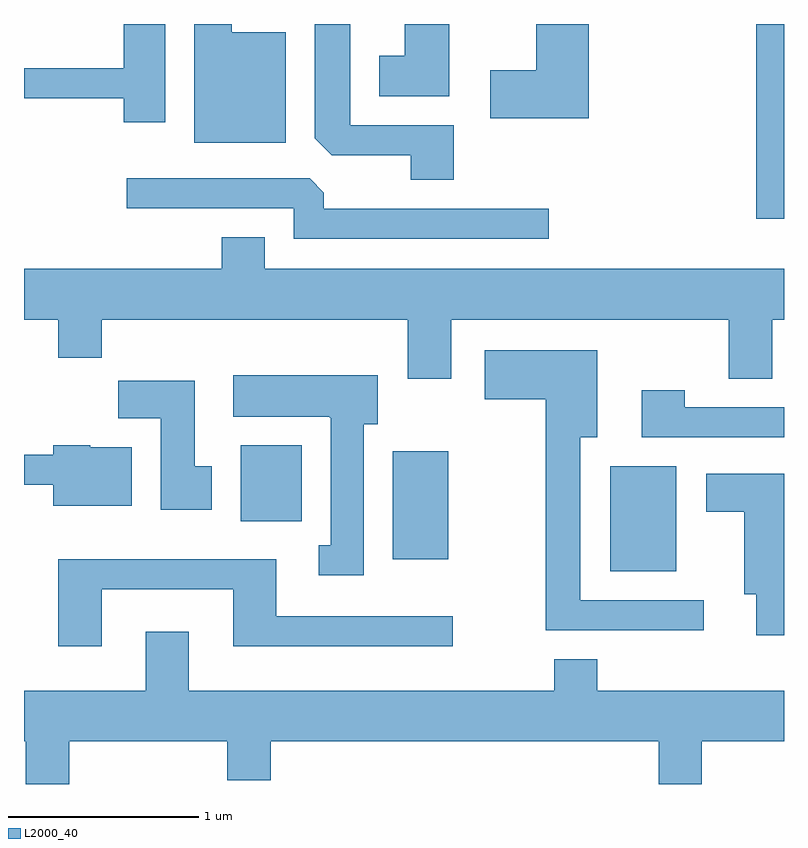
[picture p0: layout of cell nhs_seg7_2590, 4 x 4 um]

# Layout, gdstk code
import gdstk
lib = gdstk.Library(unit=1e-6, precision=1e-09)
def R(c, l, rs):  # rectangles x0, y0, x1, y1
    for r in rs: c.add(gdstk.rectangle(r[:2], r[2:], *l))
def P(c, l, *ps):  # polygons
    for p in ps: c.add(gdstk.Polygon(p, *l))
L2000_40 = (2000, 40)

nhs_seg7_2590 = lib.new_cell('nhs_seg7_2590')
R(nhs_seg7_2590, L2000_40, [(266.696,1777.371,267.044,1777.924), (265.551,1777.436,265.844,1778.004), (264.751,1777.636,265.074,1778.034), (267.466,1779.226,267.611,1780.252)])
P(nhs_seg7_2590, L2000_40, [(264.989,1780.209),(264.704,1780.209),(264.704,1780.252),(264.506,1780.252),(264.506,1779.626),(264.989,1779.626)],
  [(266.584,1780.252),(266.306,1780.252),(266.306,1780.009),(266.066,1780.009),(266.066,1779.756),(266.584,1779.756)],
  [(265.849,1780.252),(265.616,1780.252),(265.616,1780.084),(265.481,1780.084),(265.481,1779.871),(265.849,1779.871)],
  [(265.874,1779.719),(265.329,1779.719),(265.329,1780.252),(265.141,1780.252),(265.141,1779.652),(265.232,1779.561),(265.646,1779.561),(265.646,1779.431),(265.874,1779.431)],
  [(264.354,1780.252),(264.136,1780.252),(264.136,1780.019),(263.611,1780.019),(263.611,1779.861),(264.136,1779.861),(264.136,1779.736),(264.354,1779.736)],
  [(266.373,1779.279),(265.189,1779.279),(265.189,1779.364),(265.114,1779.439),(264.153,1779.439),(264.153,1779.281),(265.031,1779.281),(265.031,1779.121),(266.373,1779.121)],
  [(265.859,1778.696),(267.321,1778.696),(267.321,1778.386),(267.549,1778.386),(267.549,1778.696),(267.611,1778.696),(267.611,1778.964),(264.879,1778.964),(264.879,1779.129),(264.651,1779.129),(264.651,1778.964),(263.611,1778.964),(263.611,1778.696),(263.791,1778.696),(263.791,1778.496),(264.019,1778.496),(264.019,1778.696),(265.631,1778.696),(265.631,1778.386),(265.859,1778.386)],
  [(267.188,1777.219),(266.539,1777.219),(266.539,1778.076),(266.629,1778.076),(266.629,1778.534),(266.036,1778.534),(266.036,1778.276),(266.356,1778.276),(266.356,1777.061),(267.188,1777.061)],
  [(265.399,1778.146),(265.474,1778.146),(265.474,1778.404),(264.711,1778.404),(264.711,1778.186),(265.22,1778.186),(265.22,1778.18),(265.226,1778.18),(265.226,1777.509),(265.163,1777.509),(265.163,1777.351),(265.399,1777.351)],
  [(264.599,1777.924),(264.509,1777.924),(264.509,1778.374),(264.106,1778.374),(264.106,1778.176),(264.331,1778.176),(264.331,1777.696),(264.599,1777.696)],
  [(267.611,1778.234),(267.089,1778.234),(267.089,1778.324),(266.861,1778.324),(266.861,1778.076),(267.611,1778.076)],
  [(264.179,1778.024),(263.96,1778.024),(263.96,1778.034),(263.766,1778.034),(263.766,1777.984),(263.611,1777.984),(263.611,1777.826),(263.766,1777.826),(263.766,1777.716),(264.179,1777.716)],
  [(267.611,1777.884),(267.201,1777.884),(267.201,1777.686),(267.401,1777.686),(267.401,1777.251),(267.466,1777.251),(267.466,1777.036),(267.611,1777.036)],
  [(264.019,1777.276),(264.711,1777.276),(264.711,1776.976),(265.868,1776.976),(265.868,1777.134),(264.939,1777.134),(264.939,1777.434),(263.791,1777.434),(263.791,1776.976),(264.019,1776.976)],
  [(263.849,1776.476),(264.681,1776.476),(264.681,1776.271),(264.909,1776.271),(264.909,1776.476),(266.951,1776.476),(266.951,1776.252),(267.179,1776.252),(267.179,1776.476),(267.611,1776.476),(267.611,1776.744),(266.629,1776.744),(266.629,1776.909),(266.401,1776.909),(266.401,1776.744),(264.479,1776.744),(264.479,1777.054),(264.251,1777.054),(264.251,1776.744),(263.611,1776.744),(263.611,1776.476),(263.621,1776.476),(263.621,1776.252),(263.849,1776.252)])

lib.write_gds('nhs_seg7_2590.gds')
